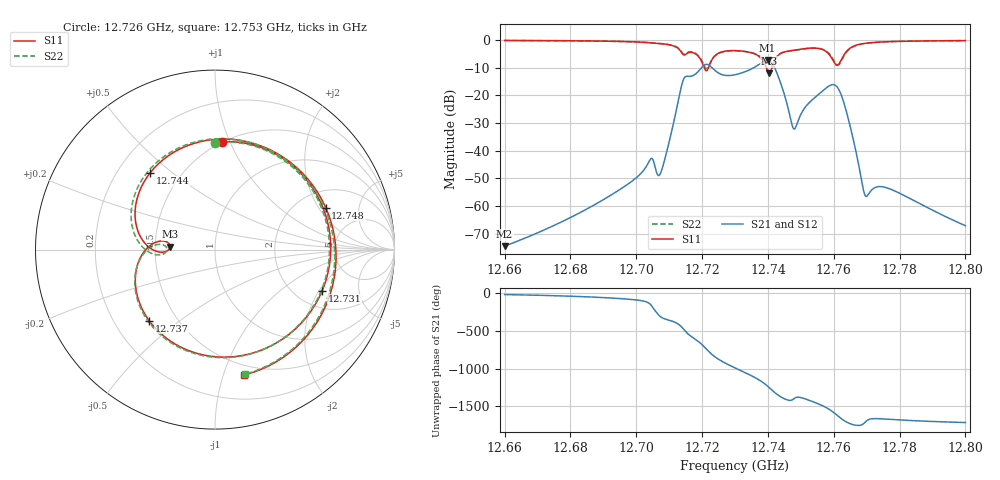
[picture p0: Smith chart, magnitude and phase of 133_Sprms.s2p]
! TOUCHSTONE file generated by CST MICROWAVE STUDIO
! Date and time: Wed Jul 31 17:31:30 2024
! Project name: WaveGuide_BPF-Ver4.1_U-shape_Ku_T3_C4_CWA_2.cst
! Parameters = {cavity_h=16; cavity_l0=10; cavity_l1=15.1805; cavity_l2=16.818; cavity_l3=17.0704; cavity_l4=17.2276; cavity_l5=17.156; cavity_l6=17.6184; cavity_r=2.5; cavity_screw_l=0.5; cavity_screw_r=1.5; cavity_w=8; iris_h00=0; iris_h01=8.821; iris_h112=0; iris_h12=5.603; iris_h211=3.6666; iris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
! Header version: 2018
! Port assignment regex: !\s*Touchstone port\s*([0-9]+)\s*=\s*(CST MWS port|CST DS port)\s*([0-9]+|Zmin|Zmax)\s*\(\"(.*)\"\)(\s*mode\s*([0-9]+))?.*
! Touchstone port assignment:
! Touchstone port 1 = CST MWS port 1 ("")
! Touchstone port 2 = CST MWS port 2 ("")
# GHz S RI R 50
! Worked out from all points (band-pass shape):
!   5001 points, 12.66 GHz to 12.8 GHz, reference 50 ohm
!   highest |S21| = -7.24 dB at 12.74 GHz (marker M1); lowest = -74.6 dB at 12.66 GHz (marker M2)
!   |S21| within 3 dB of the highest: 12.71966 GHz to 12.72323 GHz (3.567 MHz wide, 0.028 % of centre); 12.73534 GHz to 12.74212 GHz (6.782 MHz wide, 0.0532 % of centre)
!   lowest |S11| = -12.0 dB at 12.74 GHz (marker M3), VSWR 1.67, Z = 29.9 + j1.01 ohm
!   |S11| at or under -10 dB: 12.72065 GHz to 12.72193 GHz (1.285 MHz wide, 0.0101 % of centre); 12.73947 GHz to 12.74124 GHz (1.772 MHz wide, 0.0139 % of centre)
!   |S22| runs from -11.4 to -0.1 dB; largest |S21 - S12| = 1e-09
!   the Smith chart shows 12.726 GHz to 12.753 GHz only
!   S11 on the Smith chart (normalised r, x): 12.726 GHz: 0.50, +0.93; 12.731 GHz: 2.76, -2.13; 12.737 GHz: 0.35, -0.39; 12.744 GHz: 0.34, +0.42; 12.748 GHz: 2.80, +2.32; 12.753 GHz: 0.41, -1.17
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12.66  0.2654 0.9468  0.000176 -6.17e-05  0.000176 -6.17e-05  0.2642 0.947
12.68335  0.6394 0.7253  0.000536 -0.000565  0.000536 -0.000565  0.6409 0.7238
12.70668  0.7884 -0.3716  0.000886 0.00344  0.000886 0.00344  0.7901 -0.3732
12.71463  -0.0699 -0.5326  -0.1397 -0.1543  -0.1397 -0.1543  -0.0539 -0.5533
12.71869  -0.5121 -0.093  0.0273 0.2636  0.0273 0.2636  -0.5145 -0.1509
12.72096  -0.262 0.123  0.3578 -0.0332  0.3578 -0.0332  -0.3004 0.0962
12.72566  0.0371 0.5999  -0.2407 -0.023  -0.2407 -0.023  -0.0016 0.5959
12.73  0.6449 0.00622  0.00404 0.2353  0.00404 0.2353  0.638 0.0156
12.73112  0.5975 -0.2286  0.0986 0.2238  0.0986 0.2238  0.594 -0.2241
12.73661  -0.3671 -0.3958  0.2067 -0.2703  0.2067 -0.2703  -0.3658 -0.4079
12.73988  -0.2711 0.0437  -0.3866 -0.1988  -0.3866 -0.1988  -0.2883 0.0262
12.74039  -0.2508 0.0158  -0.424 -0.0562  -0.424 -0.0562  -0.2676 0.00093
12.74364  -0.3611 0.428  0.0548 0.1736  0.0548 0.1736  -0.3983 0.4023
12.7482  0.6167 0.2341  0.0165 0.0188  0.0165 0.0188  0.5928 0.2688
12.75335  0.1649 -0.6975  0.0813 0.00862  0.0813 0.00862  0.1701 -0.6934
12.75338  0.1591 -0.6989  0.0817 0.00799  0.0817 0.00799  0.1644 -0.6949
12.75783  -0.5683 -0.2227  0.0235 -0.1354  0.0235 -0.1354  -0.5749 -0.2466
12.76077  -0.00493 0.3539  -0.1449 -0.0254  -0.1449 -0.0254  -0.0723 0.3615
12.76354  0.4933 -0.3217  -0.00984 0.0581  -0.00984 0.0581  0.4958 -0.2715
12.76951  -0.3099 -0.8148  6.42e-05 0.00155  6.42e-05 0.00155  -0.3076 -0.8128
12.77668  -0.764 -0.5382  -0.00127 0.00163  -0.00127 0.00163  -0.767 -0.5338
12.8  -0.9649 0.15  3.98e-05 0.000435  3.98e-05 0.000435  -0.9648 0.1522
